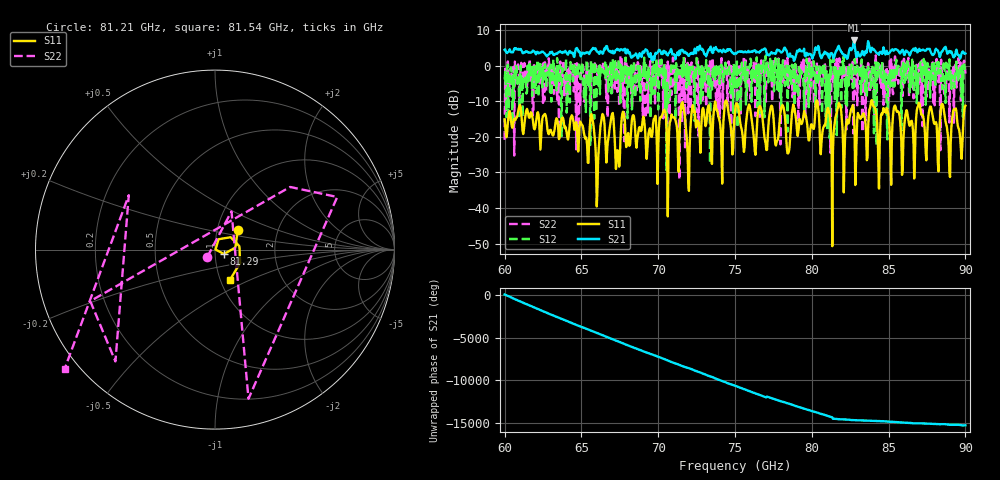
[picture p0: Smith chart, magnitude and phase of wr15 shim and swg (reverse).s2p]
!Created with skrf (http://scikit-rf.org).
# GHz S RI R 50.0
!freq ReS11 ImS11 ReS21 ImS21 ReS12 ImS12 ReS22 ImS22
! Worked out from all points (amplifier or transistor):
!   721 points, 60 GHz to 90 GHz, reference 50 ohm
!   highest |S21| = 7.1 dB at 82.75 GHz (marker M1)
!   |S21| within 3 dB of that: 86.93 GHz to 87.73 GHz (797.1 MHz wide, 0.913 % of centre)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
!   unconditionally stable (mu >= 1): 60.0732 GHz to 60.10893 GHz; 68.26541 GHz to 68.34492 GHz; 70.51677 GHz to 70.58821 GHz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
!   at 65 GHz: K = 0.82, MSG = 1.9 dB, |S12| = -0.8 dB
!   at 75 GHz: K = 0.84, MSG = 4.9 dB, |S12| = -6.4 dB
!   at 90 GHz: K = 0.94, MSG = 2.5 dB, |S12| = -1.7 dB
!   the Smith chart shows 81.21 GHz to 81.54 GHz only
!   S11 on the Smith chart (normalised r, x): 81.21 GHz: 1.25, +0.29; 81.29 GHz: 1.10, -0.05; 81.54 GHz: 1.11, -0.39
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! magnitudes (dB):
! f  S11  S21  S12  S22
! 60 GHz  -15.1  4.4  -3.9  -20.8
! 60.79 GHz  -14.6  4.6  -0.8  -1.7
! 65 GHz  -16.4  2.9  -0.8  -1.4
! 65.71 GHz  -14.7  4.5  -2.5  -0.2
! 66.04 GHz  -34.9  3.9  -2.6  -2.2
! 66.38 GHz  -13.6  3.3  -1.8  -1.1
! 67.38 GHz  -23.9  4.4  -3.6  -1.5
! 67.71 GHz  -12.9  4.3  0.0  -0.9
! 70 GHz  -23.5  3.9  -12.3  -1.8
! 70.67 GHz  -24.8  3.5  -10.4  -4.7
! 70.96 GHz  -14.5  3.3  -0.7  2.3
! 75 GHz  -13.1  3.4  -6.4  -3.6
! 80 GHz  -16.5  2.6  -0.1  1.0
! 81.21 GHz  -15.4  3.4  1.6  -24.5
! 81.29 GHz  -25.1  3.5  -0.2  -1.4
! 81.54 GHz  -14.5  3.6  -0.5  0.6
! 82.75 GHz  -14.1  7.1  -6.8  -1.2
! 85 GHz  -14.3  3.4  -2.9  -1.6
! 88.21 GHz  -27.4  4.2  -2.3  -0.4
! 88.5 GHz  -10.8  4.0  -6.6  -1.3
! 88.96 GHz  -29.7  4.1  1.8  -16.0
! 90 GHz  -11.3  3.4  -1.7  -2.3
